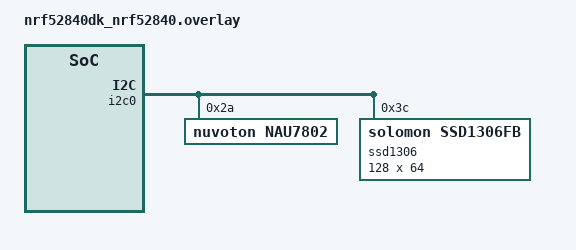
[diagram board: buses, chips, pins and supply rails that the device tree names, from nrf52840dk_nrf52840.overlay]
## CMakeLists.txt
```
cmake_minimum_required(VERSION 3.20.0)
find_package(Zephyr REQUIRED HINTS $ENV{ZEPHYR_BASE})

set(CMAKE_EXPORT_COMPILE_COMMANDS ON)
project(coffee-scale)

target_sources(app PRIVATE 
   src/main.c
   src/nau7802.c 
   src/button.c
   src/nvs.c
   src/display.c
   src/scale.c)

target_include_directories(app
   PRIVATE
      ${CMAKE_CURRENT_SOURCE_DIR}/include
      ${CMAKE_CURRENT_SOURCE_DIR}/drivers
)
```

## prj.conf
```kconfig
# IO
CONFIG_GPIO=y
CONFIG_I2C=y

# File system
CONFIG_FLASH=y
CONFIG_FLASH_MAP=y
CONFIG_NVS=y
CONFIG_MPU_ALLOW_FLASH_WRITE=y
CONFIG_SETTINGS=y
CONFIG_SETTINGS_NVS=y

# Float printing support
CONFIG_CBPRINTF_FP_SUPPORT=y

# Display
CONFIG_DISPLAY=y
# CONFIG_DISPLAY_LOG_LEVEL_DBG=y
CONFIG_SSD1306=y
# CONFIG_CFB_LOG_LEVEL_DBG=y
CONFIG_CHARACTER_FRAMEBUFFER=y

# General Debugging
CONFIG_DEBUG=y
CONFIG_DEBUG_THREAD_INFO=y
CONFIG_NO_OPTIMIZATIONS=y

# Logging
CONFIG_LOG=y

# Stack/Heap configuration
CONFIG_HEAP_MEM_POOL_SIZE=16384
CONFIG_SYSTEM_WORKQUEUE_STACK_SIZE=2048
CONFIG_MAIN_STACK_SIZE=4096
CONFIG_STACK_SENTINEL=y

# Thread configuration
CONFIG_THREAD_STACK_INFO=y
CONFIG_THREAD_MONITOR=y
```

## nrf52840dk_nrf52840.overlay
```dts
// To get started, press Ctrl+Space (or Option+Esc) to bring up the completion menu and view the available nodes.

// You can also use the buttons in the sidebar to perform actions on nodes.
// Actions currently available include:

// * Enabling / disabling the node
// * Adding the bus to a bus
// * Removing the node
// * Connecting ADC channels

// For more help, browse the DeviceTree documentation at https://docs.zephyrproject.org/latest/guides/dts/index.html
// You can also visit the nRF DeviceTree extension documentation at https://docs.nordicsemi.com/bundle/nrf-connect-vscode/page/guides/ncs_configure_app.html#devicetree-support-in-the-extension
/ {
   buttons {
      debounce-interval-ms = <100>;   
   };
};

&i2c0 {

   status = "okay";

  

   nau7802: nau7802@2a {
      compatible = "nuvoton,nau7802";
      reg = <0x2a>;
      label = "NAU7802"; 
   };

   ssd1306: ssd1306@3c {
      compatible = "solomon,ssd1306fb";
      reg = <0x3c>;
      width = <128>;
      height = <64>;
      segment-offset = <0>;
      //invert x
      segment-remap;
      // invert y
      com-invdir;
      page-offset = <0>;
      display-offset = <0>;
      multiplex-ratio = <63>;
      prechargep = <0xF1>;
      // reset-gpios = <&gpio0 10 GPIO_ACTIVE_LOW>; // Optional: if you have a reset pin
  };
};
```

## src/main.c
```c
#include "button.h"
#include "display.h"
#include "nvs.h"
#include "scale.h"
#include <zephyr/device.h>
#include <zephyr/kernel.h>

LOG_MODULE_REGISTER(main, LOG_LEVEL_ERR);

#define WEIGHT_THREAD_PRIORITY 2
#define DISPLAY_THREAD_PRIORITY 5
#define WORKQ_THREAD_PRIORITY 1
#define WORKQ_STACK_SIZE 2048
#define STACK_SIZE 4096

struct k_work_q workq;
K_THREAD_STACK_DEFINE(workq_stack, WORKQ_STACK_SIZE);
struct k_mutex nau_mutex;

void workq_init(void)
{
   k_work_queue_start(&workq, workq_stack, K_THREAD_STACK_SIZEOF(workq_stack),
                      WORKQ_THREAD_PRIORITY, NULL);
}

status_t weight_thread(void)
{
   k_mutex_init(&nau_mutex);
   workq_init();
   // Set up buttons with their ISRs
   EXPECT_OK(init_tare_button());
   EXPECT_OK(init_calibration_button());

   // Prepare the file system
   EXPECT_OK(init_nvs());
   // load_nvs_data();

   // Initialize and start collecting data from the load cell
   scale_run();
   return STATUS_OK;
}

status_t display_thread(void)
{
   EXPECT_OK(display_init());

   display_run();
   return STATUS_OK;
}

K_THREAD_DEFINE(weight_thread_id, STACK_SIZE, weight_thread, NULL, NULL, NULL,
                WEIGHT_THREAD_PRIORITY, 0, 0);

K_THREAD_DEFINE(display_thread_id, STACK_SIZE, display_thread, NULL, NULL, NULL,
                DISPLAY_THREAD_PRIORITY, 0, 0);
```

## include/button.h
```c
#ifndef BUTTON_H
#define BUTTON_H

#include "error.h"
#include <zephyr/drivers/gpio.h>



status_t init_button(const struct gpio_dt_spec *button, struct gpio_callback *callback, gpio_callback_handler_t handler);

status_t init_tare_button();
status_t init_calibration_button();

#endif // BUTTON_H
```

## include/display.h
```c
#ifndef DISPLAY_H
#define DISPLAY_H
#include "error.h"

status_t display_init(void);
void display_run(void);

#endif
```

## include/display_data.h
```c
#ifndef DISPLAY_DATA_H
#define DISPLAY_DATA_H

struct display_data {
   float weight;
};

#endif
```

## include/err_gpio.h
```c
#ifndef ERR_GPIO_H
#define ERR_GPIO_H
#include "error.h"

status_t convert_gpio_err(int code) {
   switch (code) {
       case 0: return STATUS_OK;
       case -EINVAL: return STATUS_GPIO_INVALID;
       case -ENOTSUP: return STATUS_GPIO_UNSUPPORTED;
       case -EIO: return STATUS_GPIO_IO;
       case -EWOULDBLOCK: return STATUS_GPIO_WOULDBLOCK;
       default: return STATUS_GPIO_FAIL;
   }
}


#endif // ERR_GPIO_H
```

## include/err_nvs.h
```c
#ifndef ERR_NVS_H
#define ERR_NVS_H

#include "error.h"

status_t convert_nvs_err(int code)
{
   if(code >= 0) return STATUS_OK;
   return code; // nvs uses errno codes
}

#endif // ERR_NVS_H
```

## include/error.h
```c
#ifndef ERROR_H
#define ERROR_H

#include <zephyr/logging/log.h>

typedef enum {
   STATUS_OK = 0,
   STATUS_GPIO_INVALID,
   STATUS_GPIO_UNSUPPORTED,
   STATUS_GPIO_IO,
   STATUS_GPIO_FAIL,
   STATUS_GPIO_WOULDBLOCK,
} status_t;

static inline status_t default_convert_error_fn(int code)
{
   return code;
}

#define EXPECT_OK_CONVERT_2(expr, convert_error_fn) \
    do { \
        int _ret = (expr); \
        status_t _err = convert_error_fn(_ret); \
        if (_err != STATUS_OK) { \
            LOG_ERR("Failed at %s:%d (%s)", __FILE__, __LINE__, #expr); \
            return _err; \
        } \
    } while (0)

#define EXPECT_OK_CONVERT_1(expr) EXPECT_OK_CONVERT_2(expr, default_convert_error_fn)

#define GET_EXPECT_OK_CONVERT_MACRO(_1, _2, NAME, ...) NAME

#define EXPECT_OK(...) \
    GET_EXPECT_OK_CONVERT_MACRO(__VA_ARGS__, EXPECT_OK_CONVERT_2, EXPECT_OK_CONVERT_1)(__VA_ARGS__)

#endif // ERROR_H
```

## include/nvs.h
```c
#ifndef NVS_H
#define NVS_H

#include "error.h"

status_t init_nvs(void);
status_t load_nvs_data(void);
status_t write_calibration_factor(float calibration_factor);
status_t write_tare(int32_t tare_value);

#endif   // NVS_H
```

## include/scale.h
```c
#ifndef LOADCELL_H
#define LOADCELL_H

void scale_run(void);

#endif // LOADCELL_H
```

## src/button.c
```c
#include "button.h"

#include <zephyr/devicetree.h>
#include <zephyr/drivers/gpio.h>
#include <zephyr/fs/nvs.h>

#include "err_gpio.h"
#include "error.h"
#include "nau7802.h"
#include "nvs.h"

#define TARE_BUTTON DT_ALIAS(sw0)
#define CALIBRATION_BUTTON DT_ALIAS(sw1)
#define CLEAR_TARE_BUTTON DT_ALIAS(sw2)

extern struct k_work_q workq;
LOG_MODULE_REGISTER(button, LOG_LEVEL_ERR);

struct gpio_callback tare_cb_data, calibration_cb_data, clear_tare_cb_data;

static const struct gpio_dt_spec tare_button =
    GPIO_DT_SPEC_GET(TARE_BUTTON, gpios);

static const struct gpio_dt_spec calibration_button =
    GPIO_DT_SPEC_GET(CALIBRATION_BUTTON, gpios);

extern struct nvs_fs fs;

static void tare_work_handler(struct k_work* work)
{
   calculateZeroOffset(10, 1000);
   write_tare(getZeroOffset());
}
K_WORK_DEFINE(tare_work, tare_work_handler);

static void tare_button_pressed(const struct device*  dev,
                                struct gpio_callback* cb, uint32_t pins)
{
   k_work_submit_to_queue(&workq, &tare_work);
}

static void calibration_work_handler(struct k_work* work)
{
   calculateCalibrationFactor(144, 10, 1000);
   write_calibration_factor(getCalibrationFactor());
}

K_WORK_DEFINE(calibration_work, calibration_work_handler);

static void calibration_button_pressed(const struct device*  dev,
                                       struct gpio_callback* cb, uint32_t pins)
{
   k_work_submit_to_queue(&workq, &calibration_work);
}

status_t init_button(const struct gpio_dt_spec* button,
                     struct gpio_callback*      cb_data,
                     gpio_callback_handler_t    handler)
{
   device_is_ready(button->port);
   EXPECT_OK(gpio_pin_configure_dt(button, GPIO_INPUT), convert_gpio_err);
   EXPECT_OK(gpio_pin_interrupt_configure_dt(button, GPIO_INT_EDGE_TO_ACTIVE),
             convert_gpio_err);
   gpio_init_callback(cb_data, handler, BIT(button->pin));
   EXPECT_OK(gpio_add_callback(button->port, cb_data), convert_gpio_err);
   return STATUS_OK;
}

status_t init_tare_button()
{
   EXPECT_OK(init_button(&tare_button, &tare_cb_data, tare_button_pressed));
   return STATUS_OK;
}

status_t init_calibration_button()
{
   EXPECT_OK(init_button(&calibration_button, &calibration_cb_data,
                         calibration_button_pressed));
   return STATUS_OK;
}
```

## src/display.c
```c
#include "display.h"
#include "display_data.h"
#include <zephyr/display/cfb.h>
#include <zephyr/kernel.h>
#include "error.h"
LOG_MODULE_REGISTER(display, LOG_LEVEL_ERR);

#define CFB_DISPLAY_HEIGHT CFB_DISPLAY_HEIGH

#define DISPLAY DT_NODELABEL(ssd1306)
static const struct device* dev = DEVICE_DT_GET(DISPLAY);

extern struct k_msgq display_msgq;

status_t display_init(void)
{

   //TODO: check if the display is ready
   device_is_ready(dev);

   EXPECT_OK(display_set_pixel_format(dev, PIXEL_FORMAT_MONO10));
   EXPECT_OK(cfb_framebuffer_init(dev));
   EXPECT_OK(cfb_framebuffer_clear(dev, true));
   EXPECT_OK(display_blanking_off(dev));
   EXPECT_OK(cfb_framebuffer_set_font(dev, 0));
   EXPECT_OK(cfb_set_kerning(dev, 3));

   return STATUS_OK;
}

void display_run(void)
{

   char                buffer[7];
   struct display_data recv_data;
   while (1)
   {
      if (k_msgq_get(&display_msgq, &recv_data, K_NO_WAIT) == 0)
      {
         snprintk(buffer, sizeof(buffer), "%.02f g", (double) recv_data.weight);
         cfb_framebuffer_clear(dev, false);
         cfb_draw_text(dev, buffer, 0, 0);
         // if (cfb_print(dev, buffer, 0, 0))
         // {
         //    printf("Failed to print a string\n");
         //    continue;
         // }
         cfb_framebuffer_finalize(dev);
      }
      k_sleep(K_MSEC(50));
   }
   return;
}
```

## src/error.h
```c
#ifndef ERROR_H
#define ERROR_H

// #include <zephyr/logging/log.h>

// #define EXPECT_OK(expr, err_code) \
//     do { \
//         if ((expr) <= 0) { \
//             LOG_ERR("Failed at %s:%d (%s)", __FILE__, __LINE__, #expr); \
//             return (err_code); \
//         } \
//     } while (0)

typedef enum {
    STATUS_OK = 0,
    ERR_DEV_NOT_READY,
    ERR_GPIO_CONFIG_FAIL,
    ERR_GPIO_INT_FAIL,
    ERR_GPIO_CB_FAIL,
    ERR_UNKNOWN,
} status_t;

#endif // ERROR_H
```

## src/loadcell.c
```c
#include "loadcell.h"
#include "nau7802.h"

#define SMOOTHING_FACTOR 0.5f

float tare = 0.0f;
float last_average = 0.0f;
float calibration = 0.0f;

bool loadcell_init(void)
{
   return begin(true);
}

bool loadcell_available(void)
{
   return available();
}

void get_weighted_average(float new_sample, float previous_average, float* weighted_average)
{
   *weighted_average = (SMOOTHING_FACTOR * new_sample) + ((1 - SMOOTHING_FACTOR) * previous_average); 
}
void get_raw_adc_value(int32_t* adc_raw)
{
   *adc_raw = getReading();
}
void get_weighted_adc_value(float* weighted_adc)
{
   int32_t adc_raw;
   get_raw_adc_value(&adc_raw);
   get_weighted_average((float)adc_raw, last_average, weighted_adc);
   last_average = *weighted_adc; // Update last average
}

void get_grams_value(float* grams)
{
   float weighted_adc;
   get_weighted_adc_value(&weighted_adc);
   *grams = (weighted_adc - tare) / calibration;
}
```
